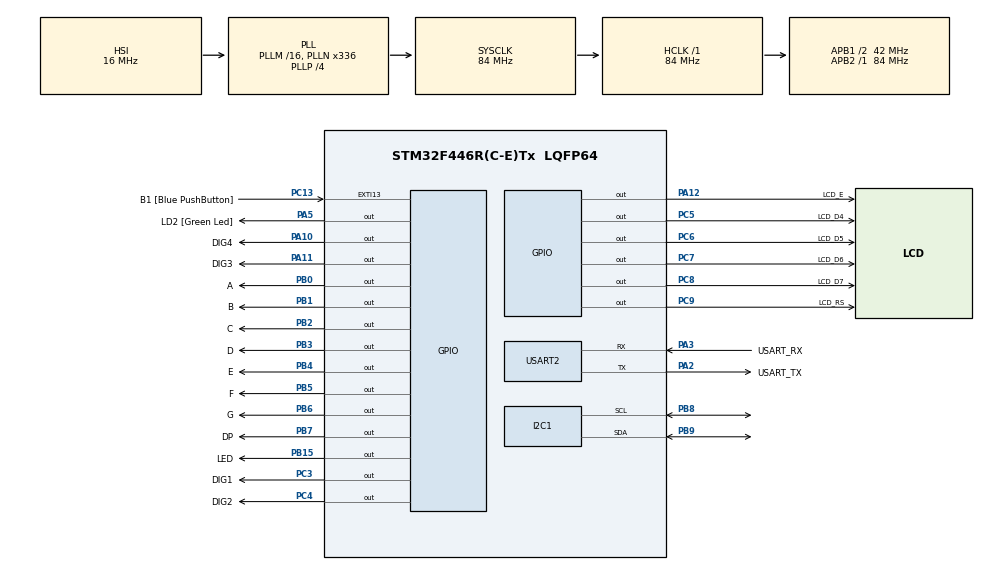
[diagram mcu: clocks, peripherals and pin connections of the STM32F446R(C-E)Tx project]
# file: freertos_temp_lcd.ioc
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FREERTOS.Tasks01=CLCDTask,24,128,StartDefaultTask,Default,NULL,Dynamic,NULL,NULL;TEMP,24,256,StartTask02,Default,NULL,Dynamic,NULL,NULL
FREERTOS.configUSE_NEWLIB_REENTRANT=1
Mcu.Family=STM32F4
Mcu.Name=STM32F446R(C-E)Tx
Mcu.Package=LQFP64
NVIC.PriorityGroup=NVIC_PRIORITYGROUP_4
NVIC.TIM6_DAC_IRQn=true\:15\:0\:false\:false\:true\:false\:false\:true\:true
NVIC.TimeBase=TIM6_DAC_IRQn
NVIC.TimeBaseIP=TIM6
PA10.GPIO_Label=DIG4
PA10.Signal=GPIO_Output
PA11.GPIO_Label=DIG3
PA11.Signal=GPIO_Output
PA12.GPIO_Label=LCD_E
PA12.Signal=GPIO_Output
PA13.GPIO_Label=TMS
PA13.Mode=Serial_Wire
PA13.Signal=SYS_JTMS-SWDIO
PA14.GPIO_Label=TCK
PA14.Mode=Serial_Wire
PA14.Signal=SYS_JTCK-SWCLK
PA2.GPIO_Label=USART_TX
PA2.Mode=Asynchronous
PA2.Signal=USART2_TX
PA3.GPIO_Label=USART_RX
PA3.Mode=Asynchronous
PA3.Signal=USART2_RX
PA5.GPIO_Label=LD2 [Green Led]
PA5.Signal=GPIO_Output
PB0.GPIO_Label=A
PB0.Signal=GPIO_Output
PB1.GPIO_Label=B
PB1.Signal=GPIO_Output
PB15.GPIO_Label=LED
PB15.Signal=GPIO_Output
PB2.GPIO_Label=C
PB2.Signal=GPIO_Output
PB3.GPIO_Label=D
PB3.Signal=GPIO_Output
PB4.GPIO_Label=E
PB4.Signal=GPIO_Output
PB5.GPIO_Label=F
PB5.Signal=GPIO_Output
PB6.GPIO_Label=G
PB6.Signal=GPIO_Output
PB7.GPIO_Label=DP
PB7.Signal=GPIO_Output
PB8.Mode=I2C
PB8.Signal=I2C1_SCL
PB9.Mode=I2C
PB9.Signal=I2C1_SDA
PC13.GPIO_Label=B1 [Blue PushButton]
PC13.GPIO_ModeDefaultEXTI=GPIO_MODE_IT_FALLING
PC13.Signal=GPXTI13
PC14-OSC32_IN.Mode=LSE-External-Oscillator
PC14-OSC32_IN.Signal=RCC_OSC32_IN
PC15-OSC32_OUT.Mode=LSE-External-Oscillator
PC15-OSC32_OUT.Signal=RCC_OSC32_OUT
PC3.GPIO_Label=DIG1
PC3.Signal=GPIO_Output
PC4.GPIO_Label=DIG2
PC4.Signal=GPIO_Output
PC5.GPIO_Label=LCD_D4
PC5.Signal=GPIO_Output
PC6.GPIO_Label=LCD_D5
PC6.Signal=GPIO_Output
PC7.GPIO_Label=LCD_D6
PC7.Signal=GPIO_Output
PC8.GPIO_Label=LCD_D7
PC8.Signal=GPIO_Output
PC9.GPIO_Label=LCD_RS
PC9.Signal=GPIO_Output
PH0-OSC_IN.Mode=HSE-External-Oscillator
PH0-OSC_IN.Signal=RCC_OSC_IN
PH1-OSC_OUT.Mode=HSE-External-Oscillator
PH1-OSC_OUT.Signal=RCC_OSC_OUT
ProjectManager.HeapSize=0x200
ProjectManager.StackSize=0x400
ProjectManager.TargetToolchain=STM32CubeIDE
RCC.48MHZClocksFreq_Value=84000000
RCC.AHBFreq_Value=84000000
RCC.APB1CLKDivider=RCC_HCLK_DIV2
RCC.APB1Freq_Value=42000000
RCC.APB1TimFreq_Value=84000000
RCC.APB2Freq_Value=84000000
RCC.APB2TimFreq_Value=84000000
RCC.CortexFreq_Value=84000000
RCC.FLatency-AdvancedSettings=FLASH_LATENCY_2
RCC.HCLKFreq_Value=84000000
RCC.HSE_VALUE=8000000
RCC.HSI_VALUE=16000000
RCC.PLLN=336
RCC.PLLP=RCC_PLLP_DIV4
RCC.SYSCLKFreq_VALUE=84000000
RCC.SYSCLKSource=RCC_SYSCLKSOURCE_PLLCLK
RCC.USBFreq_Value=168000000
RCC.VCOOutputFreq_Value=336000000
USART2.VirtualMode=VM_ASYNC
VP_FREERTOS_VS_CMSIS_V2.Mode=CMSIS_V2
VP_SYS_VS_tim6.Mode=TIM6
board=NUCLEO-F446RE

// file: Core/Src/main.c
/* USER CODE BEGIN Header */
/**
  ******************************************************************************
  * @file           : main.c
  * @brief          : Main program body
  ******************************************************************************
  * @attention
  *
  * Copyright (c) 2024 STMicroelectronics.
  * All rights reserved.
  *
  * This software is licensed under terms that can be found in the LICENSE file
  * in the root directory of this software component.
  * If no LICENSE file comes with this software, it is provided AS-IS.
  *
  ******************************************************************************
  */
/* USER CODE END Header */
#include "main.h"
#include "cmsis_os.h"

/* USER CODE BEGIN Includes */
#include <stdio.h>
#include <stdlib.h>
#include <clcd.h>
/* USER CODE END Includes */

I2C_HandleTypeDef hi2c1;

UART_HandleTypeDef huart2;

/* Definitions for CLCDTask */
osThreadId_t CLCDTaskHandle;
const osThreadAttr_t CLCDTask_attributes = {
  .name = "CLCDTask",
  .stack_size = 2048 * 4,
  .priority = (osPriority_t) osPriorityNormal, // CLCD FreeRtos task 1
};
/* Definitions for TEMP */
osThreadId_t TEMPHandle;
const osThreadAttr_t TEMP_attributes = {
  .name = "TEMP",
  .stack_size = 1024 * 4,
  .priority = (osPriority_t) osPriorityNormal, // temp FreeRtos task2
};
/* USER CODE BEGIN PV */
volatile int temperature_displaying = 0;
/* USER CODE END PV */

void SystemClock_Config(void);
static void MX_GPIO_Init(void);
static void MX_USART2_UART_Init(void);
static void MX_I2C1_Init(void);
void StartDefaultTask(void *argument);
void StartTask02(void *argument);

/* USER CODE BEGIN 0 */
void printFirstRow(const char *text)
{
  CLCD_send(CMD4, 0x80);
  while (*text)
  {
    CLCD_send(DATA4, *text++);
  }
}

void printSecondRow(const char *text)
{
  CLCD_send(CMD4, 0xC0);
  while (*text)
  {
    CLCD_send(DATA4, *text++);
  }
}
#define LM75A_ADDR 0X4C
#define PLUS 1
#define MINUS 0
#define DIGIT_PLUS 10
#define DIGIT_MINUS 11
#define DECIMAL_FIVE 1
#define DECIMAL_ZERO 0
#define DOT 1
#define NOT_DOT 0
#define I2C_WRITE 0
#define I2C_READ 1
#define LM75A_CONFIGURATTION_REG_ADDR 0X01
#define LM75A_TEMPERATURE_REG_ADDR 0X00

char number[] = {0x3f, 0x06, 0x5b, 0x4f, 0x66, 0x6d, 0x7d, 0x27, 0x7f, 0x6f, 0X00, 0X40};
// uint8_t i2c1_buffer[2]; // write and read buffer
int temperature; // temp memory
uint32_t count = 0;
uint32_t curtick = 0, prevTick = 0;
uint32_t num3, num2, num1, num0;
volatile uint8_t i2c1_buffer[2];
void fnd_display(int num, int position, int time_ms, int dot_flag)
{
	int i;
	switch (position) {
	case 3:
		HAL_GPIO_WritePin(DIG1_GPIO_Port, DIG1_Pin, SET);
		HAL_GPIO_WritePin(DIG2_GPIO_Port, DIG2_Pin, RESET);
		HAL_GPIO_WritePin(DIG3_GPIO_Port, DIG3_Pin, RESET);
		HAL_GPIO_WritePin(DIG4_GPIO_Port, DIG4_Pin, RESET);
		break;
	case 2:
		HAL_GPIO_WritePin(DIG1_GPIO_Port, DIG1_Pin, RESET);
		HAL_GPIO_WritePin(DIG2_GPIO_Port, DIG2_Pin, SET);
		HAL_GPIO_WritePin(DIG3_GPIO_Port, DIG3_Pin, RESET);
		HAL_GPIO_WritePin(DIG4_GPIO_Port, DIG4_Pin, RESET);
		break;
	case 1:
		HAL_GPIO_WritePin(DIG1_GPIO_Port, DIG1_Pin, RESET);
		HAL_GPIO_WritePin(DIG2_GPIO_Port, DIG2_Pin, RESET);
		HAL_GPIO_WritePin(DIG3_GPIO_Port, DIG3_Pin, SET);
		HAL_GPIO_WritePin(DIG4_GPIO_Port, DIG4_Pin, RESET);
		break;
	case 0:
		HAL_GPIO_WritePin(DIG1_GPIO_Port, DIG1_Pin, RESET);
		HAL_GPIO_WritePin(DIG2_GPIO_Port, DIG2_Pin, RESET);
		HAL_GPIO_WritePin(DIG3_GPIO_Port, DIG3_Pin, RESET);
		HAL_GPIO_WritePin(DIG4_GPIO_Port, DIG4_Pin, SET);
		break;
	}
  	for (i=0; i<12; i++)
	{
		if((number[num] & (1<<i))!=0)
		{
			switch (i)
			{
			case 0 : HAL_GPIO_WritePin(A_GPIO_Port, A_Pin, GPIO_PIN_SET); break;
			case 1 : HAL_GPIO_WritePin(B_GPIO_Port, B_Pin, GPIO_PIN_SET); break;
			case 2 : HAL_GPIO_WritePin(C_GPIO_Port, C_Pin, GPIO_PIN_SET); break;
			case 3 : HAL_GPIO_WritePin(D_GPIO_Port, D_Pin, GPIO_PIN_SET); break;
			case 4 : HAL_GPIO_WritePin(E_GPIO_Port, E_Pin, GPIO_PIN_SET); break;
			case 5 : HAL_GPIO_WritePin(F_GPIO_Port, F_Pin, GPIO_PIN_SET); break;
			case 6 : HAL_GPIO_WritePin(G_GPIO_Port, G_Pin, GPIO_PIN_SET); break;
			case 7 : HAL_GPIO_WritePin(DP_GPIO_Port, DP_Pin, GPIO_PIN_SET); break;
			}
		}else
			{
				switch(i)
				{
				case 0 : HAL_GPIO_WritePin(A_GPIO_Port, A_Pin, GPIO_PIN_RESET); break;
				case 1 : HAL_GPIO_WritePin(B_GPIO_Port, B_Pin, GPIO_PIN_RESET); break;
				case 2 : HAL_GPIO_WritePin(C_GPIO_Port, C_Pin, GPIO_PIN_RESET); break;
				case 3 : HAL_GPIO_WritePin(D_GPIO_Port, D_Pin, GPIO_PIN_RESET); break;
				case 4 : HAL_GPIO_WritePin(E_GPIO_Port, E_Pin, GPIO_PIN_RESET); break;
				case 5 : HAL_GPIO_WritePin(F_GPIO_Port, F_Pin, GPIO_PIN_RESET); break;
				case 6 : HAL_GPIO_WritePin(G_GPIO_Port, G_Pin, GPIO_PIN_RESET); break;
				case 7 : HAL_GPIO_WritePin(DP_GPIO_Port, DP_Pin, GPIO_PIN_RESET); break;
				}
			}
		}
    if(dot_flag ==DOT)
    HAL_GPIO_WritePin(DP_GPIO_Port, DP_Pin, GPIO_PIN_SET);
	HAL_Delay(time_ms);
	}

  void display_temperature(uint8_t *buffer)
{
    int temp, sign;
    uint8_t decimal;
    temp = (*buffer << 8) | *(buffer + 1);
    if ((temp & (1 << 15)))
    {
        sign = MINUS;
        temp = (~temp & 0x7FE0) + 0x20;
    }
    else
    {
        sign = PLUS;
    }

    decimal = (temp & (1 << 7)) ? DECIMAL_ZERO : DECIMAL_FIVE;

    temp >>= 7;

    int integer_part = temp >> 1;
    int fractional_part = (temp & 0x01) * 5;

    if (sign == PLUS)
        fnd_display(DIGIT_PLUS, 3, 4, NOT_DOT);
    else
        fnd_display(DIGIT_MINUS, 3, 4, NOT_DOT);

    fnd_display(integer_part / 10, 2, 4, NOT_DOT);
    fnd_display(integer_part % 10, 1, 4, DOT);

    fnd_display(fractional_part, 0, 4, NOT_DOT);
}

/* USER CODE END 0 */

int main(void)
{

  /* USER CODE BEGIN 1 */
  *i2c1_buffer = 0x00;
  HAL_I2C_Mem_Write(&hi2c1, ((LM75A_ADDR << 1) | I2C_WRITE), LM75A_CONFIGURATTION_REG_ADDR, 8, i2c1_buffer, 1, 100);
  HAL_I2C_Mem_Read(&hi2c1, ((LM75A_ADDR << 1) | I2C_WRITE), LM75A_TEMPERATURE_REG_ADDR, 8, i2c1_buffer, 2, 100);

  /* USER CODE END 1 */

  /* MCU Configuration--------------------------------------------------------*/

  /* Reset of all peripherals, Initializes the Flash interface and the Systick. */
  HAL_Init();

  /* Configure the system clock */
  SystemClock_Config();

  /* Initialize all configured peripherals */
  MX_GPIO_Init();
  MX_USART2_UART_Init();
  MX_I2C1_Init();
  /* USER CODE BEGIN 2 */
  CLCD_init();
  /* USER CODE END 2 */

  /* Init scheduler */
  osKernelInitialize();

  /* Create the thread(s) */
  /* creation of CLCDTask */
  CLCDTaskHandle = osThreadNew(StartDefaultTask, NULL, &CLCDTask_attributes);

  /* creation of TEMP */
  TEMPHandle = osThreadNew(StartTask02, NULL, &TEMP_attributes);

  /* Start scheduler */
  osKernelStart();

  /* We should never get here as control is now taken by the scheduler */

  /* Infinite loop */
  while (1)
  {

  }
}

void SystemClock_Config(void)
{
  RCC_OscInitTypeDef RCC_OscInitStruct = {0};
  RCC_ClkInitTypeDef RCC_ClkInitStruct = {0};

  /** Configure the main internal regulator output voltage
  */
  __HAL_RCC_PWR_CLK_ENABLE();
  __HAL_PWR_VOLTAGESCALING_CONFIG(PWR_REGULATOR_VOLTAGE_SCALE3);

  /** Initializes the RCC Oscillators according to the specified parameters
  * in the RCC_OscInitTypeDef structure.
  */
  RCC_OscInitStruct.OscillatorType = RCC_OSCILLATORTYPE_HSI;
  RCC_OscInitStruct.HSIState = RCC_HSI_ON;
  RCC_OscInitStruct.HSICalibrationValue = RCC_HSICALIBRATION_DEFAULT;
  RCC_OscInitStruct.PLL.PLLState = RCC_PLL_ON;
  RCC_OscInitStruct.PLL.PLLSource = RCC_PLLSOURCE_HSI;
  RCC_OscInitStruct.PLL.PLLM = 16;
  RCC_OscInitStruct.PLL.PLLN = 336;
  RCC_OscInitStruct.PLL.PLLP = RCC_PLLP_DIV4;
  RCC_OscInitStruct.PLL.PLLQ = 2;
  RCC_OscInitStruct.PLL.PLLR = 2;
  if (HAL_RCC_OscConfig(&RCC_OscInitStruct) != HAL_OK)
  {
    Error_Handler();
  }

  /** Initializes the CPU, AHB and APB buses clocks
  */
  RCC_ClkInitStruct.ClockType = RCC_CLOCKTYPE_HCLK|RCC_CLOCKTYPE_SYSCLK
                              |RCC_CLOCKTYPE_PCLK1|RCC_CLOCKTYPE_PCLK2;
  RCC_ClkInitStruct.SYSCLKSource = RCC_SYSCLKSOURCE_PLLCLK;
  RCC_ClkInitStruct.AHBCLKDivider = RCC_SYSCLK_DIV1;
  RCC_ClkInitStruct.APB1CLKDivider = RCC_HCLK_DIV2;
  RCC_ClkInitStruct.APB2CLKDivider = RCC_HCLK_DIV1;

  if (HAL_RCC_ClockConfig(&RCC_ClkInitStruct, FLASH_LATENCY_2) != HAL_OK)
  {
    Error_Handler();
  }
}

static void MX_I2C1_Init(void)
{

  hi2c1.Instance = I2C1;
  hi2c1.Init.ClockSpeed = 100000;
  hi2c1.Init.DutyCycle = I2C_DUTYCYCLE_2;
  hi2c1.Init.OwnAddress1 = 0;
  hi2c1.Init.AddressingMode = I2C_ADDRESSINGMODE_7BIT;
  hi2c1.Init.DualAddressMode = I2C_DUALADDRESS_DISABLE;
  hi2c1.Init.OwnAddress2 = 0;
  hi2c1.Init.GeneralCallMode = I2C_GENERALCALL_DISABLE;
  hi2c1.Init.NoStretchMode = I2C_NOSTRETCH_DISABLE;
  if (HAL_I2C_Init(&hi2c1) != HAL_OK)
  {
    Error_Handler();
  }

}

static void MX_USART2_UART_Init(void)
{

  huart2.Instance = USART2;
  huart2.Init.BaudRate = 115200;
  huart2.Init.WordLength = UART_WORDLENGTH_8B;
  huart2.Init.StopBits = UART_STOPBITS_1;
  huart2.Init.Parity = UART_PARITY_NONE;
  huart2.Init.Mode = UART_MODE_TX_RX;
  huart2.Init.HwFlowCtl = UART_HWCONTROL_NONE;
  huart2.Init.OverSampling = UART_OVERSAMPLING_16;
  if (HAL_UART_Init(&huart2) != HAL_OK)
  {
    Error_Handler();
  }

}

static void MX_GPIO_Init(void)
{
  GPIO_InitTypeDef GPIO_InitStruct = {0};

  /* GPIO Ports Clock Enable */
  __HAL_RCC_GPIOC_CLK_ENABLE();
  __HAL_RCC_GPIOH_CLK_ENABLE();
  __HAL_RCC_GPIOA_CLK_ENABLE();
  __HAL_RCC_GPIOB_CLK_ENABLE();

  /*Configure GPIO pin Output Level */
  HAL_GPIO_WritePin(GPIOC, DIG1_Pin|DIG2_Pin|LCD_D4_Pin|LCD_D5_Pin
                          |LCD_D6_Pin|LCD_D7_Pin|LCD_RS_Pin, GPIO_PIN_RESET);

  /*Configure GPIO pin Output Level */
  HAL_GPIO_WritePin(GPIOA, LD2_Pin|DIG4_Pin|DIG3_Pin|LCD_E_Pin, GPIO_PIN_RESET);

  /*Configure GPIO pin Output Level */
  HAL_GPIO_WritePin(GPIOB, A_Pin|B_Pin|C_Pin|LED_Pin
                          |D_Pin|E_Pin|F_Pin|G_Pin
                          |DP_Pin, GPIO_PIN_RESET);

  /*Configure GPIO pin : B1_Pin */
  GPIO_InitStruct.Pin = B1_Pin;
  GPIO_InitStruct.Mode = GPIO_MODE_IT_FALLING;
  GPIO_InitStruct.Pull = GPIO_NOPULL;
  HAL_GPIO_Init(B1_GPIO_Port, &GPIO_InitStruct);

  /*Configure GPIO pins : DIG1_Pin DIG2_Pin LCD_D4_Pin LCD_D5_Pin
                           LCD_D6_Pin LCD_D7_Pin LCD_RS_Pin */
  GPIO_InitStruct.Pin = DIG1_Pin|DIG2_Pin|LCD_D4_Pin|LCD_D5_Pin
                          |LCD_D6_Pin|LCD_D7_Pin|LCD_RS_Pin;
  GPIO_InitStruct.Mode = GPIO_MODE_OUTPUT_PP;
  GPIO_InitStruct.Pull = GPIO_NOPULL;
  GPIO_InitStruct.Speed = GPIO_SPEED_FREQ_LOW;
  HAL_GPIO_Init(GPIOC, &GPIO_InitStruct);

  /*Configure GPIO pins : LD2_Pin DIG4_Pin DIG3_Pin LCD_E_Pin */
  GPIO_InitStruct.Pin = LD2_Pin|DIG4_Pin|DIG3_Pin|LCD_E_Pin;
  GPIO_InitStruct.Mode = GPIO_MODE_OUTPUT_PP;
  GPIO_InitStruct.Pull = GPIO_NOPULL;
  GPIO_InitStruct.Speed = GPIO_SPEED_FREQ_LOW;
  HAL_GPIO_Init(GPIOA, &GPIO_InitStruct);

  /*Configure GPIO pins : A_Pin B_Pin C_Pin LED_Pin
                           D_Pin E_Pin F_Pin G_Pin
                           DP_Pin */
  GPIO_InitStruct.Pin = A_Pin|B_Pin|C_Pin|LED_Pin
                          |D_Pin|E_Pin|F_Pin|G_Pin
                          |DP_Pin;
  GPIO_InitStruct.Mode = GPIO_MODE_OUTPUT_PP;
  GPIO_InitStruct.Pull = GPIO_NOPULL;
  GPIO_InitStruct.Speed = GPIO_SPEED_FREQ_LOW;
  HAL_GPIO_Init(GPIOB, &GPIO_InitStruct);

}

void StartDefaultTask(void *argument)
{
  /* USER CODE BEGIN 5 */

  /* Infinite loop */
  for (;;)
  {
    CLCD_init();
    printFirstRow("MCSTECH INC!");
    printSecondRow("Institute");
    HAL_Delay(2000);

    printFirstRow("Senior Staff");
    printSecondRow("LEE IN KANG");
    HAL_Delay(2000);

    printFirstRow("My phone number");
    printSecondRow("010-9105-4918");
    HAL_Delay(2000);
  }
  /* USER CODE END 5 */
}

void StartTask02(void *argument)
{
  /* USER CODE BEGIN StartTask02 */
  /* Infinite loop */
    for(;;)
  {
    temperature_displaying = 1;

    if(HAL_I2C_Master_Receive(&hi2c1,((LM75A_ADDR<<1)|I2C_WRITE), i2c1_buffer, 2, 100) == HAL_OK)
      display_temperature(i2c1_buffer);

    temperature_displaying = 0;

    /* USER CODE END WHILE */
    if (((curtick = HAL_GetTick()) - prevTick) >= 1000)
    {
      prevTick = curtick;
      if (count == 0)
      {
        if (count != 0)
        {
          count--;
          count = 0;
        }
      }
      else
        count--;
    }
    num3 = count / 1000;         // 1000
    num2 = (count % 1000) / 100; // 100
    num1 = (count % 100) / 10;   // 10
    num0 = count % 10;           // 1
  }
}
  /* USER CODE END StartTask02 */

void HAL_TIM_PeriodElapsedCallback(TIM_HandleTypeDef *htim)
{
  if (htim->Instance == TIM6) {
    HAL_IncTick();
  }
}

void Error_Handler(void)
{
  __disable_irq();
  while (1)
  {
  }
}
